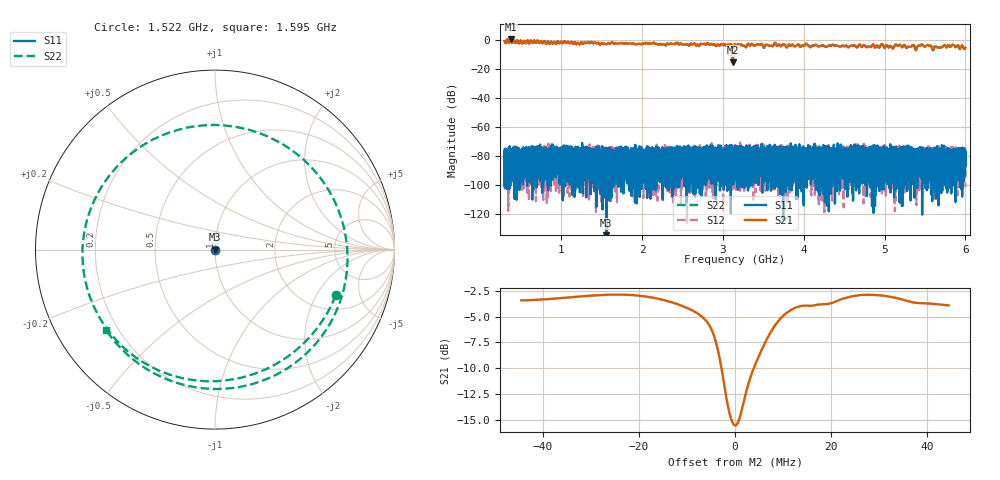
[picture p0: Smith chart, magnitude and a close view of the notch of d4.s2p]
!Agilent Technologies,N5230C,SG49000117,A.08.50.07
!Agilent N5230C: A.08.50.07
!Date: Sunday, March 17, 2024 02:36:43
!Correction: S11(Off)
!S21(Off)
!S12(Off)
!S22(Off)
!S2P File: Measurements: S11, S21, S12, S22:
# Hz S  RI  R 50
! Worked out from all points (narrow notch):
!   20001 points, 300 MHz to 6 GHz, reference 50 ohm
!   highest |S21| = 0.48 dB at 373.8 MHz (marker M1); lowest = -15.5 dB at 3.122 GHz (marker M2)
!   notch at M2: 12.2 dB deep, 7.41 MHz wide at half that depth
!   lowest |S11| = -166.7 dB at 1.558 GHz (marker M3), VSWR 1.00, Z = 50 - j5.38e-08 ohm
!   |S11| at or under -10 dB: start of sweep to end of sweep
!   |S22| runs from -15.5 to 0.5 dB; largest |S21 - S12| = 1.1
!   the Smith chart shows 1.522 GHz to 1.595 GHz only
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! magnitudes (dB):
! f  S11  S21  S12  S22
! 300 MHz  -83.7  -0.9  -84.7  -0.9
! 373.8 MHz  -85.9  0.5  -80.1  0.5
! 1.25 GHz  -83.7  -1.7  -81.4  -1.7
! 1.558 GHz  -166.7  -3.2  -93.3  -3.2
! 2.2 GHz  -84.4  -3.4  -89.0  -3.4
! 3.082 GHz  -78.1  -3.3  -77.5  -3.3
! 3.122 GHz  -78.7  -15.5  -82.6  -15.5
! 3.15 GHz  -83.5  -2.9  -89.1  -2.9
! 3.171 GHz  -81.1  -4.2  -82.4  -4.1
! 3.271 GHz  -80.3  -4.2  -85.5  -4.1
! 3.456 GHz  -81.4  -3.5  -84.0  -3.5
! 3.977 GHz  -79.8  -4.0  -78.1  -3.9
! 4.035 GHz  -79.0  -2.9  -81.5  -2.7
! 4.1 GHz  -82.1  -4.2  -85.3  -4.1
! 5.05 GHz  -80.2  -5.2  -83.5  -5.2
! 5.163 GHz  -84.0  -4.1  -75.3  -4.0
! 5.395 GHz  -84.2  -6.3  -88.3  -6.3
! 5.443 GHz  -81.6  -3.7  -88.0  -3.8
! 5.546 GHz  -78.4  -3.8  -79.4  -3.8
! 5.612 GHz  -77.9  -5.6  -79.2  -5.7
! 5.846 GHz  -80.5  -3.3  -83.3  -3.4
! 6 GHz  -83.7  -5.5  -101.3  -5.5
